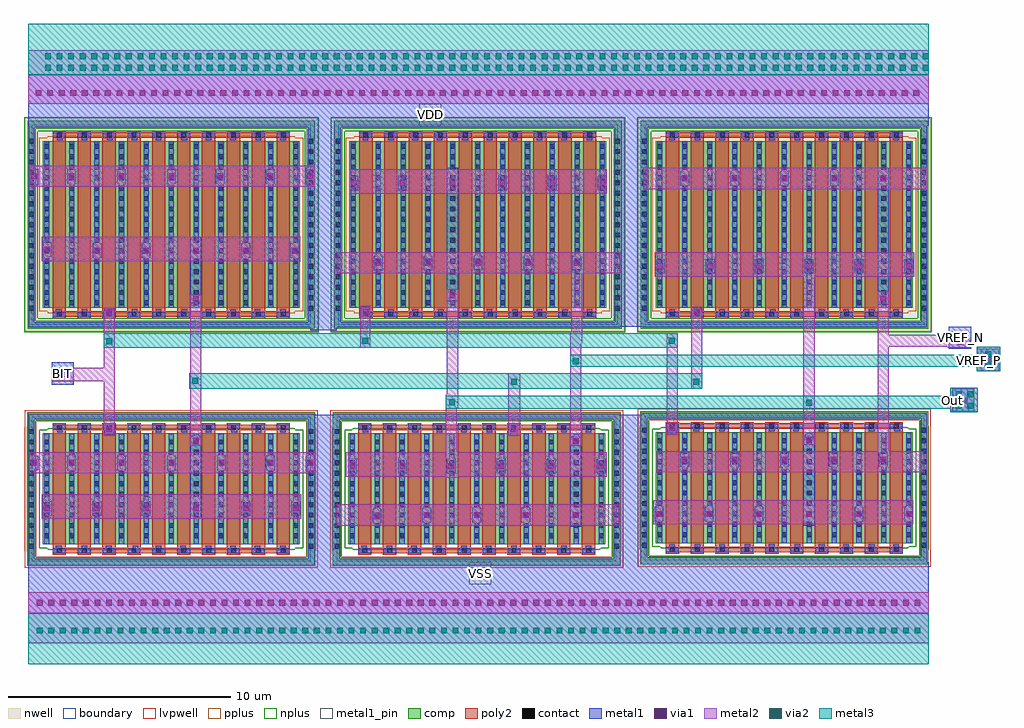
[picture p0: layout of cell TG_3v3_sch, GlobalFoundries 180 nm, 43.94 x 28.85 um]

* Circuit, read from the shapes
.subckt TG_3v3_sch BIT Out VDD VREF_N VREF_P VSS
XM1 VSS BIT n1 VSS nfet_03v3 w=5u l=0.6u m=10
XM2 VREF_P n1 Out VSS nfet_03v3 w=5u l=0.6u m=10
XM3 VREF_N BIT Out VSS nfet_03v3 w=5u l=0.6u m=10
XM4 VDD BIT n1 VDD pfet_03v3 w=7.5u l=0.6u m=10
XM5 VREF_P BIT Out VDD pfet_03v3 w=7.5u l=0.6u m=10
XM6 VREF_N n1 Out VDD pfet_03v3 w=7.5u l=0.6u m=10
.ends

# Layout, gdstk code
import gdstk
lib = gdstk.Library(unit=1e-6, precision=1e-09)
def R(c, l, rs):  # rectangles x0, y0, x1, y1
    for r in rs: c.add(gdstk.rectangle(r[:2], r[2:], *l))
def A(c, l, x, y, w, h, nx, ny, dx, dy):  # array of equal rectangles
    R(c, l, [(x+i*dx, y+j*dy, x+i*dx+w, y+j*dy+h) for i in range(nx) for j in range(ny)])
boundary = (0, 0)
nwell = (21, 0)
comp = (22, 0)
poly2 = (30, 0)
pplus = (31, 0)
nplus = (32, 0)
contact = (33, 0)
metal1 = (34, 0)
metal1_pin = (34, 10)
via1 = (35, 0)
metal2 = (36, 0)
via2 = (38, 0)
metal3 = (42, 0)
lvpwell = (204, 0)

pfet_03v3_5um88n = lib.new_cell('pfet_03v3_5UM88N')
R(pfet_03v3_5um88n, boundary, [(-6.29,-4.5,6.29,4.5)])
R(pfet_03v3_5um88n, nwell, [(-6.59,-4.8,6.59,4.8)])
R(pfet_03v3_5um88n, comp, [(-6.47,-4.68,6.47,-4.32), (-6.47,-4.32,-6.11,4.32), (6.11,-4.32,6.47,4.32), (-5.78,-3.75,5.78,3.75), (-6.47,4.32,6.47,4.68)])
A(pfet_03v3_5um88n, poly2, -5.34, -4.21, 0.6, 8.42, 10, 1, 1.12, 0)
R(pfet_03v3_5um88n, pplus, [(-5.57,-3.98,5.57,-3.91), (-5.94,-3.91,5.94,3.91), (-5.57,3.91,5.57,3.98)])
R(pfet_03v3_5um88n, nplus, [(-6.63,-4.84,6.63,-4.21), (-6.63,-4.21,-6,4.21), (6,-4.21,6.63,4.21), (-6.63,4.21,6.63,4.84)])
A(pfet_03v3_5um88n, contact, -5.15, -4.14, 0.22, 0.22, 10, 2, 1.12, 8.06)
A(pfet_03v3_5um88n, contact, -6.4, -3.87, 0.22, 0.22, 1, 17, 0, 0.47)
A(pfet_03v3_5um88n, contact, 6.18, -3.87, 0.22, 0.22, 1, 17, 0, 0.47)
A(pfet_03v3_5um88n, contact, -5.71, -3.635, 0.22, 0.22, 11, 16, 1.12, 0.47)
A(pfet_03v3_5um88n, metal1, -5.33, -4.145, 0.58, 0.23, 10, 2, 1.12, 8.06)
A(pfet_03v3_5um88n, metal1, -5.715, -3.74, 0.23, 7.48, 11, 1, 1.12, 0)
R(pfet_03v3_5um88n, metal1, [(-6.405,-4.615,6.405,-4.385), (-6.405,-4.385,-6.175,4.385), (6.175,-4.385,6.405,4.385), (-6.405,4.385,6.405,4.615)])

nfet_03v3_pvnwsj = lib.new_cell('nfet_03v3_PVNWSJ')
R(nfet_03v3_pvnwsj, boundary, [(-6.29,-3.25,6.29,3.25)])
R(nfet_03v3_pvnwsj, comp, [(-6.47,-3.43,6.47,-3.07), (-6.47,-3.07,-6.11,3.07), (6.11,-3.07,6.47,3.07), (-5.78,-2.5,5.78,2.5), (-6.47,3.07,6.47,3.43)])
A(nfet_03v3_pvnwsj, poly2, -5.34, -2.96, 0.6, 5.92, 10, 1, 1.12, 0)
R(nfet_03v3_pvnwsj, pplus, [(-6.49,-3.45,6.49,-3.05), (-6.49,-3.05,-6.08,-2.795), (6.08,-3.05,6.49,-2.795), (-6.5,-2.795,-6.08,2.795), (6.08,-2.795,6.5,2.795), (-6.49,2.795,-6.08,3.05), (6.08,2.795,6.49,3.05), (-6.49,3.05,6.49,3.45)])
R(nfet_03v3_pvnwsj, nplus, [(-5.57,-2.73,5.57,-2.66), (-5.94,-2.66,5.94,2.66), (-5.57,2.66,5.57,2.73)])
A(nfet_03v3_pvnwsj, contact, -5.15, -2.89, 0.22, 0.22, 10, 2, 1.12, 5.56)
A(nfet_03v3_pvnwsj, contact, -6.4, -2.695, 0.22, 0.22, 1, 12, 0, 0.47)
A(nfet_03v3_pvnwsj, contact, 6.18, -2.695, 0.22, 0.22, 1, 12, 0, 0.47)
A(nfet_03v3_pvnwsj, contact, -5.71, -2.225, 0.22, 0.22, 11, 10, 1.12, 0.47)
A(nfet_03v3_pvnwsj, metal1, -5.33, -2.895, 0.58, 0.23, 10, 2, 1.12, 5.56)
A(nfet_03v3_pvnwsj, metal1, -5.715, -2.49, 0.23, 4.98, 11, 1, 1.12, 0)
R(nfet_03v3_pvnwsj, metal1, [(-6.405,-3.365,6.405,-3.135), (-6.405,-3.135,-6.175,3.135), (6.175,-3.135,6.405,3.135), (-6.405,3.135,6.405,3.365)])
R(nfet_03v3_pvnwsj, lvpwell, [(-6.59,-3.55,6.59,3.55)])

tg_3v3_sch = lib.new_cell('TG_3v3_sch')
A(tg_3v3_sch, poly2, 19.3, 16.25, 10.68, 0.25, 3, 2, 13.8, 8.05)
R(tg_3v3_sch, poly2, [(19.35,5.6,29.95,5.85), (33.1,5.6,43.7,5.85), (46.9,5.65,57.5,5.9), (19.3,11.15,29.9,11.4), (33.05,11.15,43.65,11.4), (46.9,11.2,57.5,11.45)])
A(tg_3v3_sch, metal1, 26.2, 5.6, 0.25, 0.35, 3, 1, 1.1, 0)
A(tg_3v3_sch, metal1, 34.35, 5.6, 0.25, 0.35, 3, 1, 1.1, 0)
A(tg_3v3_sch, metal1, 52.7, 5.65, 0.25, 0.35, 3, 2, 1.1, 18.55)
A(tg_3v3_sch, metal1, 46.4, 7.05, 0.4, 0.65, 3, 1, 2.25, 0)
A(tg_3v3_sch, metal1, 37.05, 9.2, 0.4, 0.65, 4, 1, 2.25, 0)
A(tg_3v3_sch, metal1, 19.95, 9.35, 0.4, 0.65, 4, 1, 2.25, 0)
A(tg_3v3_sch, metal1, 47.55, 9.5, 0.4, 0.65, 3, 1, 2.25, 0)
A(tg_3v3_sch, metal1, 27.35, 11.05, 0.25, 0.35, 3, 1, 1.1, 0)
A(tg_3v3_sch, metal1, 35.5, 11.05, 0.25, 0.35, 3, 1, 1.1, 0)
A(tg_3v3_sch, metal1, 41.1, 11.05, 0.25, 0.35, 3, 1, 1.1, 0)
A(tg_3v3_sch, metal1, 48.15, 11.1, 0.25, 0.35, 3, 1, 1.15, 0)
A(tg_3v3_sch, metal1, 54.9, 11.1, 0.25, 0.35, 3, 1, 1.15, 0)
A(tg_3v3_sch, metal1, 25.1, 16.25, 0.25, 0.35, 4, 1, 1.1, 0)
A(tg_3v3_sch, metal1, 36.65, 16.25, 0.25, 0.35, 3, 1, 1.1, 0)
A(tg_3v3_sch, metal1, 51.6, 16.25, 0.25, 0.35, 4, 1, 1.1, 0)
A(tg_3v3_sch, metal1, 50.9, 18.2, 0.4, 0.65, 4, 1, 2.25, 0)
A(tg_3v3_sch, metal1, 33.75, 18.35, 0.4, 0.65, 4, 1, 2.25, 0)
A(tg_3v3_sch, metal1, 39.35, 21.95, 0.4, 0.65, 3, 1, 2.25, 0)
A(tg_3v3_sch, metal1, 47.55, 22.15, 0.4, 0.65, 4, 1, 2.25, 0)
A(tg_3v3_sch, metal1, 19.95, 22.25, 0.4, 0.65, 3, 1, 2.25, 0)
A(tg_3v3_sch, metal1, 21.75, 24.2, 0.25, 0.35, 3, 1, 1.1, 0)
A(tg_3v3_sch, metal1, 25.1, 24.2, 0.25, 0.35, 3, 1, 1.1, 0)
A(tg_3v3_sch, metal1, 34.4, 24.2, 0.25, 0.35, 3, 1, 1.1, 0)
A(tg_3v3_sch, metal1, 37.75, 24.2, 0.25, 0.35, 3, 1, 1.1, 0)
A(tg_3v3_sch, metal1, 48.2, 24.2, 0.25, 0.35, 3, 1, 1.1, 0)
R(tg_3v3_sch, metal1, [(18.2,2.9,58.75,5.2), (30.9,5.2,32.1,9.3), (36.9,5.2,40.25,5.25), (44.7,5.2,45.9,11.85), (19.45,5.6,19.7,5.95), (20.6,5.6,20.85,5.95), (21.7,5.6,21.95,5.95), (22.9,5.6,23.15,5.95), (23.95,5.6,24.2,5.95), (25.05,5.6,25.3,5.95), (29.55,5.6,29.8,5.95), (33.2,5.6,33.45,5.95), (37.7,5.6,37.95,5.95), (38.8,5.6,39.05,5.95), (39.95,5.6,40.2,5.95), (41.05,5.6,41.3,5.95), (42.2,5.6,42.45,5.95), (43.3,5.6,43.55,5.95), (47.05,5.65,47.3,6), (48.2,5.65,48.45,6), (49.3,5.65,49.55,6), (50.45,5.65,50.7,6), (51.55,5.65,51.8,6), (56.05,5.65,56.3,6), (57.15,5.65,57.4,6), (42.6,6.8,43.1,10.85), (53.1,6.85,53.6,10.7), (33.7,6.95,34.1,7.6), (35.95,7,36.35,7.65), (38.2,7,38.6,7.65), (40.4,7,40.8,7.65), (55.4,7.05,55.8,7.7), (57.65,7.05,58.05,7.7), (25.5,7.15,26,10.8), (18.85,7.3,19.25,7.95), (21.1,7.3,21.5,7.95), (23.3,7.3,23.7,7.95), (27.8,7.3,28.2,7.95), (30.05,7.3,30.45,7.95), (32.6,9.2,33,9.85), (34.85,9.2,35.25,9.85), (30.7,9.3,32.1,10), (18.25,9.35,18.65,10), (28.9,9.35,29.3,10), (54.25,9.5,54.65,10.15), (56.5,9.5,56.9,10.15), (30.9,10,32.1,11.85), (53.15,10.7,53.55,10.95), (25.55,10.8,25.95,10.9), (39.9,10.9,40.25,11.4), (21.65,10.95,22.05,11.25), (47,11,47.4,11.45), (19.5,11.05,19.75,11.4), (20.6,11.05,20.85,11.4), (22.85,11.05,23.1,11.4), (23.95,11.05,24.2,11.4), (25.1,11.05,25.35,11.4), (26.2,11.05,26.45,11.4), (33.25,11.05,33.5,11.4), (34.35,11.05,34.6,11.4), (38.85,11.05,39.1,11.4), (51.55,11.1,51.8,11.45), (52.65,11.1,52.9,11.45), (53.8,11.1,54.05,11.45), (21.7,11.25,22,11.35), (21.7,11.35,21.95,11.4), (59.8,12,60.8,13), (19.25,13.2,20.25,14.2), (60.9,13.8,61.9,14.8), (59.65,14.8,60.65,15.8), (30.9,15.65,32.1,22.2), (44.8,15.8,46,24.85), (19.45,16.25,19.7,16.6), (20.6,16.25,20.85,16.6), (21.7,16.25,21.95,16.3), (22.85,16.25,23.1,16.6), (23.95,16.25,24.2,16.6), (29.55,16.25,29.8,16.6), (33.25,16.25,33.5,16.3), (34.4,16.25,34.65,16.6), (35.5,16.25,35.75,16.6), (40,16.25,40.25,16.6), (41.1,16.25,41.35,16.6), (42.25,16.25,42.5,16.6), (43.35,16.25,43.6,16.6), (47.05,16.25,47.3,16.6), (48.2,16.25,48.45,16.3), (49.3,16.25,49.55,16.6), (50.4,16.25,50.65,16.6), (56.05,16.25,56.3,16.6), (57.15,16.25,57.4,16.6), (21.7,16.3,22,16.45), (33.25,16.3,33.55,16.45), (48.15,16.3,48.45,16.45), (21.65,16.45,22.05,16.65), (33.2,16.45,33.6,16.7), (48.1,16.45,48.5,16.6), (48.15,16.6,48.5,16.65), (56.45,16.8,56.95,22.95), (25.5,16.85,26,19.85), (37.05,16.95,37.55,22.95), (46.45,18.2,46.85,18.85), (48.7,18.2,49.1,18.85), (42.7,18.35,43.1,19), (21.1,18.9,21.5,19.55), (23.3,18.9,23.7,19.55), (27.8,18.9,28.2,19.55), (30,18.9,30.4,19.55), (18.85,18.95,19.25,19.6), (32.65,21.95,33.05,22.6), (34.85,21.95,35.25,22.6), (18.3,22.2,18.65,22.3), (30.7,22.2,32.1,22.95), (26.65,22.25,27.05,22.9), (28.9,22.25,29.3,22.9), (18.25,22.3,18.65,22.9), (30.9,22.95,32.1,24.85), (19.5,24.2,19.75,24.55), (20.6,24.2,20.85,24.55), (28.45,24.2,28.7,24.55), (29.55,24.2,29.8,24.55), (33.25,24.2,33.5,24.55), (41.1,24.2,41.35,24.55), (42.2,24.2,42.45,24.55), (43.35,24.2,43.6,24.55), (47.05,24.2,47.3,24.55), (51.55,24.2,51.8,24.55), (56.05,24.2,56.3,24.55), (57.15,24.2,57.4,24.55), (18.2,24.85,58.75,27.15)])
R(tg_3v3_sch, metal1_pin, [(38.05,4.2,39.05,5.2), (59.8,12,59.85,13), (19.25,13.2,20.25,14.2), (60.9,13.8,61.1,14.8), (59.65,14.8,60.65,15.8), (35.8,24.85,36.8,25.85)])
A(tg_3v3_sch, via1, 18.585, 3.245, 0.26, 0.26, 77, 1, 0.52, 0)
A(tg_3v3_sch, via1, 46.47, 7.245, 0.26, 0.26, 6, 1, 2.25, 0)
A(tg_3v3_sch, via1, 23.37, 7.495, 0.26, 0.26, 4, 1, 2.25, 0)
A(tg_3v3_sch, via1, 37.12, 9.395, 0.26, 0.26, 4, 1, 2.25, 0)
A(tg_3v3_sch, via1, 20.02, 9.545, 0.26, 0.26, 4, 1, 2.25, 0)
A(tg_3v3_sch, via1, 47.62, 9.695, 0.26, 0.26, 3, 1, 2.25, 0)
A(tg_3v3_sch, via1, 50.97, 18.395, 0.26, 0.26, 4, 1, 2.25, 0)
A(tg_3v3_sch, via1, 33.82, 18.545, 0.26, 0.26, 4, 1, 2.25, 0)
A(tg_3v3_sch, via1, 23.37, 19.095, 0.26, 0.26, 3, 1, 2.25, 0)
A(tg_3v3_sch, via1, 34.92, 22.145, 0.26, 0.26, 5, 1, 2.25, 0)
A(tg_3v3_sch, via1, 47.62, 22.345, 0.26, 0.26, 4, 1, 2.25, 0)
A(tg_3v3_sch, via1, 20.02, 22.445, 0.26, 0.26, 3, 1, 2.25, 0)
A(tg_3v3_sch, via1, 18.535, 26.195, 0.26, 0.26, 77, 1, 0.52, 0)
R(tg_3v3_sch, via1, [(33.77,7.145,34.03,7.405), (36.02,7.195,36.28,7.455), (38.27,7.195,38.53,7.455), (40.47,7.195,40.73,7.455), (42.72,7.195,42.98,7.455), (18.92,7.495,19.18,7.755), (21.17,7.495,21.43,7.755), (32.67,9.395,32.93,9.655), (34.92,9.395,35.18,9.655), (18.32,9.545,18.58,9.805), (28.97,9.545,29.23,9.805), (30.77,9.545,31.03,9.805), (54.32,9.695,54.58,9.955), (56.57,9.695,56.83,9.955), (42.72,10.52,42.98,10.78), (25.62,10.545,25.88,10.805), (53.22,10.595,53.48,10.855), (21.72,11.045,21.98,11.305), (39.92,11.045,40.18,11.305), (47.07,11.095,47.33,11.355), (60.22,12.345,60.48,12.605), (19.72,13.52,19.98,13.78), (61.295,14.17,61.555,14.43), (60.02,14.995,60.28,15.255), (21.72,16.32,21.98,16.58), (48.17,16.32,48.43,16.58), (33.27,16.345,33.53,16.605), (25.62,16.92,25.88,17.18), (56.57,16.945,56.83,17.205), (37.17,17.095,37.43,17.355), (46.52,18.395,46.78,18.655), (48.77,18.395,49.03,18.655), (42.77,18.545,43.03,18.805), (21.17,19.095,21.43,19.355), (30.07,19.095,30.33,19.355), (18.92,19.145,19.18,19.405), (32.72,22.145,32.98,22.405), (56.57,22.345,56.83,22.605), (18.32,22.445,18.58,22.705), (26.72,22.445,26.98,22.705), (28.97,22.445,29.23,22.705), (30.77,22.445,31.03,22.705)])
R(tg_3v3_sch, metal2, [(18.2,1.55,58.75,3.85), (32.05,6.85,44.8,7.8), (46.35,6.9,58.05,8), (18.8,7.15,30.5,8.25), (37,9,37.5,9.05), (32.5,9.05,44.25,10.15), (18.25,9.2,31.1,10.15), (46.5,9.25,58.55,10.2), (37,10.15,37.5,12.1), (56.45,10.2,56.95,14.9), (25.5,10.45,26,17.25), (42.6,10.45,43.1,15.05), (53.1,10.5,53.6,18.05), (21.6,10.9,22.1,13.35), (39.8,10.9,40.35,13.7), (46.95,10.95,47.45,15.5), (59.7,11.95,60.95,13.05), (37,12.1,37.55,12.75), (37.05,12.75,37.55,17.5), (48.05,13,48.55,16.7), (19.3,13.35,22.1,13.95), (60.9,13.8,61.95,14.9), (21.6,13.95,22.1,16.65), (33.15,14.85,33.6,16.75), (59.6,14.85,60.6,14.9), (56.45,14.9,60.6,15.2), (42.6,15.05,43.15,15.55), (56.45,15.2,60.55,15.45), (56.45,15.45,56.95,17.4), (59.75,15.45,60.55,15.6), (42.65,15.55,43.15,18.2), (46.4,18.05,58.1,19.15), (32.1,18.2,44.85,19.15), (18.8,18.75,30.45,19.85), (32.65,21.8,44.25,22.9), (45.9,22,58.65,22.95), (18.25,22.1,31.1,23.05), (18.2,25.85,58.75,28.25)])
A(tg_3v3_sch, via2, 18.585, 1.995, 0.26, 0.26, 77, 1, 0.52, 0)
A(tg_3v3_sch, via2, 18.96, 27.335, 0.26, 0.26, 77, 2, 0.52, 0.52)
R(tg_3v3_sch, via2, [(59.96,12.11,60.22,12.37), (60.48,12.11,60.74,12.37), (53.22,12.245,53.48,12.505), (37.145,12.27,37.405,12.53), (59.96,12.63,60.22,12.89), (60.48,12.63,60.74,12.89), (39.945,13.195,40.205,13.455), (48.145,13.195,48.405,13.455), (25.595,13.245,25.855,13.505), (61.295,13.91,61.555,14.17), (42.72,14.12,42.98,14.38), (61.295,14.43,61.555,14.69), (21.72,15.02,21.98,15.28), (33.245,15.045,33.505,15.305), (47.045,15.045,47.305,15.305)])
R(tg_3v3_sch, metal3, [(18.2,0.6,58.75,2.9), (59.7,11.95,60.95,12.1), (37,12.1,60.95,12.7), (59.7,12.7,60.95,13.05), (25.45,13,48.55,13.7), (60.9,13.8,61.95,14), (42.6,14,61.95,14.55), (60.9,14.55,61.95,14.9), (21.6,14.85,47.45,15.5), (18.2,27.15,58.75,29.45)])
tg_3v3_sch.add(gdstk.Reference(pfet_03v3_5um88n, (38.44,20.4)))
tg_3v3_sch.add(gdstk.Reference(nfet_03v3_pvnwsj, (52.24,8.55)))
tg_3v3_sch.add(gdstk.Reference(pfet_03v3_5um88n, (52.24,20.4)))
tg_3v3_sch.add(gdstk.Reference(pfet_03v3_5um88n, (24.64,20.4)))
tg_3v3_sch.add(gdstk.Reference(nfet_03v3_pvnwsj, (38.39,8.5)))
tg_3v3_sch.add(gdstk.Reference(nfet_03v3_pvnwsj, (24.64,8.5)))
tg_3v3_sch.add(gdstk.Label('VREF_P', (61,14.3), layer=34, texttype=10))
tg_3v3_sch.add(gdstk.Label('VDD', (36.3,25.35), layer=34, texttype=10))
tg_3v3_sch.add(gdstk.Label('Out', (59.825,12.5), layer=34, texttype=10))
tg_3v3_sch.add(gdstk.Label('BIT', (19.75,13.7), layer=34, texttype=10))
tg_3v3_sch.add(gdstk.Label('VREF_N', (60.15,15.3), layer=34, texttype=10))
tg_3v3_sch.add(gdstk.Label('VSS', (38.55,4.7), layer=34, texttype=10))

lib.write_gds('TG_3v3_sch.gds')
